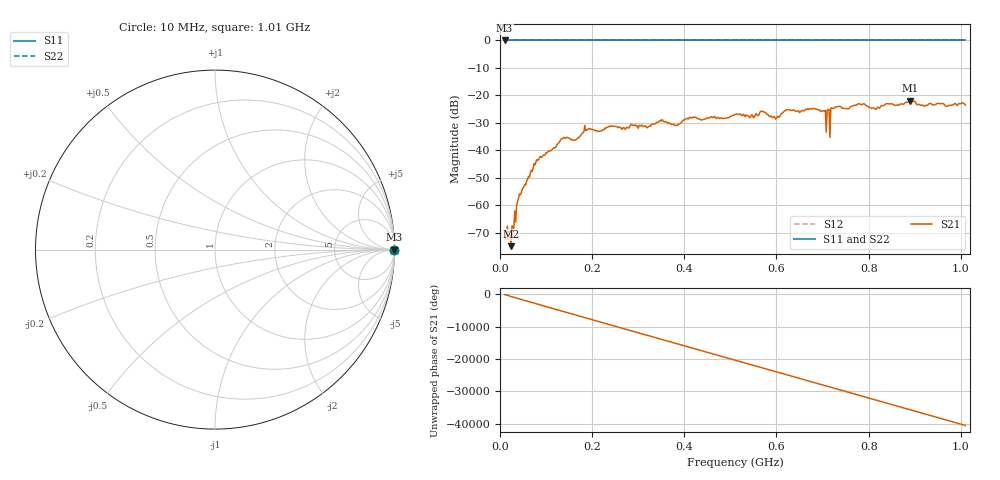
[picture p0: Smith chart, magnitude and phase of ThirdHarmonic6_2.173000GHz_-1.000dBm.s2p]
! 8/17/2025 1:55:43 AM
! C:\ANRITSUVNA\TEMP\TEMP.S2P
! CHANNEL.1
! TR.MEASUREMENT
! RAW.DATA
! RF.CORRECTION.OFF
! AVERAGING.OFF
! IF.BANDWIDTH: 5KHZ
! SWEEPTYPE:  FREQ.SWEEP(Linear)
! Reference Plane Port Info
! PORT:  PORT1  PORT2
! DISTANCE:  0  m  0  m
! TIME:  0  s  0  s
! PHASE.OFFSET:  0  deg.  0  deg.
! LOSS:  0  dB  0  dB
! REF.LOSS:  0  dB  0  dB
! REF.FREQ:  0  Hz  0  Hz
! Power Info
! POWER:  -20  dBm  -20  dBm
! EFF.POWER:  -20  dBm  -20  dBm
! SOURCE.ATTEN:  0  dB  0  dB
! TEST.ATTEN:  0  dB  0  dB
# GHZ S RI R 50.0
! FREQ.GHZ  S11RE  S11IM  S21RE  S21IM  S12RE  S12IM  S22RE  S22IM
!; PortSelection: Port_12
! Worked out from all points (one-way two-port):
!   501 points, 10 MHz to 1.01 GHz, reference 50 ohm
!   highest |S21| = -21.93 dB at 890 MHz (marker M1); lowest = -74.9 dB at 24 MHz (marker M2)
!   lowest |S11| = 0.0 dB at 10 MHz (marker M3)
!   |S11| at or under -10 dB: nowhere
!   |S22| runs from 0.0 to 0.0 dB; largest |S21 - S12| = 1.1
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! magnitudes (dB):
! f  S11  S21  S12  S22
! 10 MHz  0.0  -71.6  0.0  0.0
! 24 MHz  0.0  -74.9  0.0  0.0
! 40 MHz  0.0  -57.6  0.0  0.0
! 78 MHz  0.0  -44.1  0.0  0.0
! 136 MHz  0.0  -35.7  0.0  0.0
! 162 MHz  0.0  -36.3  0.0  0.0
! 178 MHz  0.0  -33.8  0.0  0.0
! 344 MHz  0.0  -29.7  0.0  0.0
! 382 MHz  0.0  -30.8  0.0  0.0
! 416 MHz  0.0  -28.3  0.0  0.0
! 510 MHz  0.0  -27.0  0.0  0.0
! 570 MHz  0.0  -25.8  0.0  0.0
! 602 MHz  0.0  -27.7  0.0  0.0
! 622 MHz  0.0  -25.2  0.0  0.0
! 678 MHz  0.0  -24.9  0.0  0.0
! 702 MHz  0.0  -25.7  0.0  0.0
! 712 MHz  0.0  -25.2  0.0  0.0
! 722 MHz  0.0  -24.7  0.0  0.0
! 732 MHz  0.0  -24.1  0.0  0.0
! 844 MHz  0.0  -23.1  0.0  0.0
! 890 MHz  0.0  -21.9  0.0  0.0
! 1.01 GHz  0.0  -23.5  0.0  0.0
